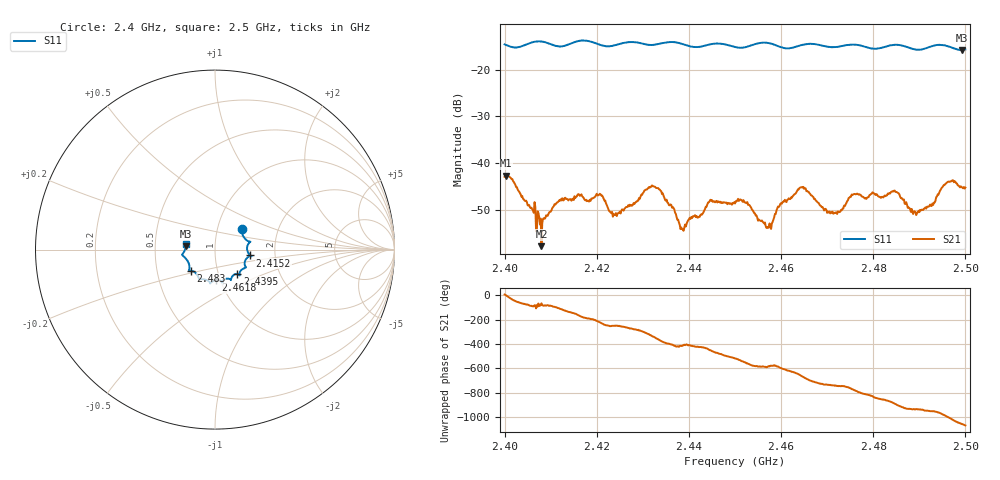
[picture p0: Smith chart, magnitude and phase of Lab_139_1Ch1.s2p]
# Hz S RI R 50
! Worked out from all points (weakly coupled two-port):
!   601 points, 2.4 GHz to 2.5 GHz, reference 50 ohm
!   highest |S21| = -42.69 dB at 2.4003 GHz (marker M1); lowest = -57.8 dB at 2.408 GHz (marker M2)
!   lowest |S11| = -15.7 dB at 2.4992 GHz (marker M3), VSWR 1.39, Z = 36 + j1.31 ohm
!   |S11| at or under -10 dB: start of sweep to end of sweep
!   S12 and S22 are empty: the file has one direction only
!   S11 on the Smith chart (normalised r, x): 2.4 GHz: 1.31, +0.31; 2.4152 GHz: 1.48, -0.10; 2.4395 GHz: 1.23, -0.34; 2.4618 GHz: 0.95, -0.33; 2.483 GHz: 0.74, -0.18; 2.5 GHz: 0.72, +0.05
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2.4e9  0.15 0.1133  0.00708 0.000684  0 0  0 0
2.400333e9  0.1497 0.1088  0.00734 -0.000175  0 0  0 0
2.408e9  0.1971 0.0433  0.00051 -0.00118  0 0  0 0
2.415167e9  0.196 -0.0328  -0.00386 -0.00211  0 0  0 0
2.416667e9  0.2033 -0.0377  -0.00461 -0.000233  0 0  0 0
2.420833e9  0.1793 -0.0458  -0.00319 0.00331  0 0  0 0
2.424e9  0.1653 -0.0815  -0.000881 0.00263  0 0  0 0
2.433333e9  0.1366 -0.1316  0.00538 -0.000266  0 0  0 0
2.4395e9  0.1241 -0.1354  0.0016 -0.00155  0 0  0 0
2.444667e9  0.0891 -0.1662  -0.000156 -0.00403  0 0  0 0
2.45e9  0.0695 -0.162  -0.00346 -0.00126  0 0  0 0
2.457333e9  0.0438 -0.1893  -0.0015 0.00139  0 0  0 0
2.461833e9  0.00411 -0.1709  -0.000559 0.00408  0 0  0 0
2.466667e9  -0.0263 -0.1888  0.00436 0.00104  0 0  0 0
2.471667e9  -0.0572 -0.1658  0.00265 -0.00125  0 0  0 0
2.475833e9  -0.0874 -0.1653  0.00235 -0.00402  0 0  0 0
2.483e9  -0.1355 -0.1181  -0.00372 -0.00254  0 0  0 0
2.483333e9  -0.1383 -0.1179  -0.00401 -0.00239  0 0  0 0
2.489167e9  -0.1449 -0.0801  -0.00232 0.00187  0 0  0 0
2.496167e9  -0.1786 -0.0213  0.00119 0.00616  0 0  0 0
2.499167e9  -0.163 0.0177  0.00515 0.00199  0 0  0 0
2.5e9  -0.1629 0.0326  0.00539 0.000861  0 0  0 0
